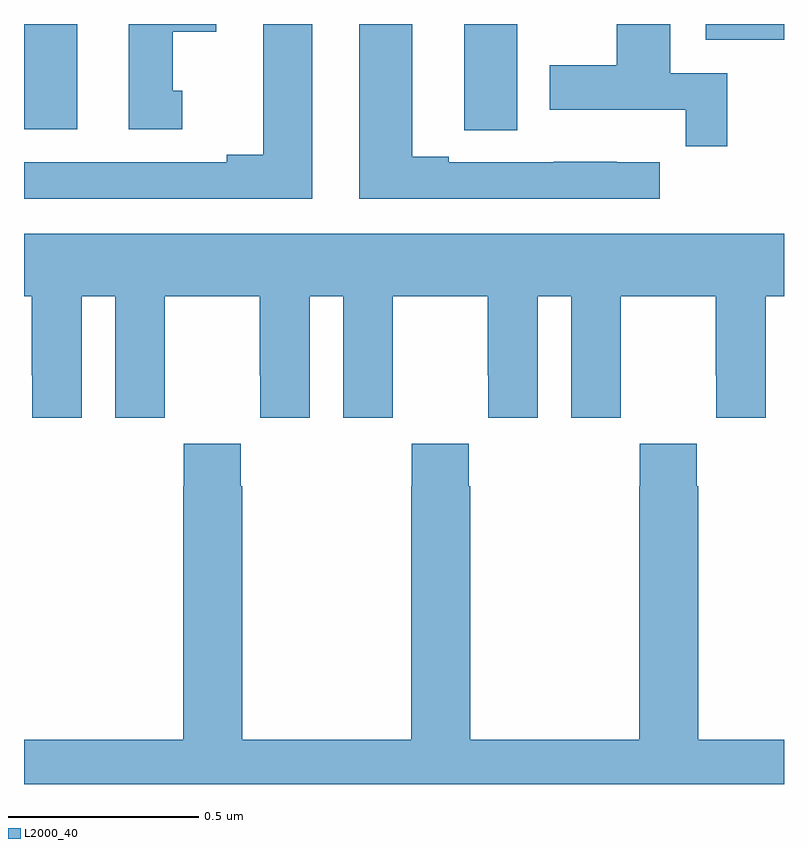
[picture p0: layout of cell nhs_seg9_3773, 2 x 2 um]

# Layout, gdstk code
import gdstk
lib = gdstk.Library(unit=1e-6, precision=1e-09)
def R(c, l, rs):  # rectangles x0, y0, x1, y1
    for r in rs: c.add(gdstk.rectangle(r[:2], r[2:], *l))
def P(c, l, *ps):  # polygons
    for p in ps: c.add(gdstk.Polygon(p, *l))
L2000_40 = (2000, 40)

nhs_seg9_3773 = lib.new_cell('nhs_seg9_3773')
R(nhs_seg9_3773, L2000_40, [(158,1166.223,158.14,1166.5), (159.794,1166.459,160,1166.5)])
P(nhs_seg9_3773, L2000_40, [(159.851,1166.37),(159.7,1166.37),(159.7,1166.5),(159.56,1166.5),(159.56,1166.391),(159.383,1166.391),(159.383,1166.274),(159.742,1166.274),(159.742,1166.178),(159.851,1166.178)],
  [(159.673,1166.136),(159.56,1166.136),(159.56,1166.137),(159.394,1166.137),(159.394,1166.136),(159.118,1166.136),(159.118,1166.151),(159.022,1166.151),(159.022,1166.5),(158.882,1166.5),(158.882,1166.04),(159.673,1166.04)],
  [(158.758,1166.5),(158.63,1166.5),(158.63,1166.156),(158.534,1166.156),(158.534,1166.136),(158,1166.136),(158,1166.04),(158.758,1166.04)],
  [(159.298,1166.5),(159.158,1166.5),(159.158,1166.329),(159.159,1166.329),(159.159,1166.221),(159.298,1166.221)],
  [(158.416,1166.325),(158.392,1166.325),(158.392,1166.48),(158.506,1166.48),(158.506,1166.5),(158.276,1166.5),(158.276,1166.223),(158.416,1166.223)],
  [(158.152,1165.784),(158.24,1165.784),(158.24,1165.464),(158.37,1165.464),(158.37,1165.576),(158.371,1165.576),(158.371,1165.784),(158.621,1165.784),(158.621,1165.576),(158.622,1165.576),(158.622,1165.464),(158.752,1165.464),(158.752,1165.784),(158.84,1165.784),(158.84,1165.464),(158.97,1165.464),(158.97,1165.576),(158.971,1165.576),(158.971,1165.784),(159.221,1165.784),(159.221,1165.576),(159.222,1165.576),(159.222,1165.464),(159.352,1165.464),(159.352,1165.784),(159.44,1165.784),(159.44,1165.464),(159.57,1165.464),(159.57,1165.576),(159.571,1165.576),(159.571,1165.784),(159.821,1165.784),(159.821,1165.576),(159.822,1165.576),(159.822,1165.464),(159.952,1165.464),(159.952,1165.784),(160,1165.784),(160,1165.948),(158,1165.948),(158,1165.784),(158.021,1165.784),(158.021,1165.576),(158.022,1165.576),(158.022,1165.464),(158.152,1165.464)],
  [(159.171,1165.283),(159.171,1165.396),(159.021,1165.396),(159.021,1165.283),(159.019,1165.283),(159.019,1164.616),(158.574,1164.616),(158.574,1165.283),(158.571,1165.283),(158.571,1165.396),(158.421,1165.396),(158.421,1165.283),(158.419,1165.283),(158.419,1164.616),(158,1164.616),(158,1164.5),(160,1164.5),(160,1164.616),(159.774,1164.616),(159.774,1165.283),(159.771,1165.283),(159.771,1165.396),(159.621,1165.396),(159.621,1165.283),(159.619,1165.283),(159.619,1164.616),(159.174,1164.616),(159.174,1165.283)])

lib.write_gds('nhs_seg9_3773.gds')
